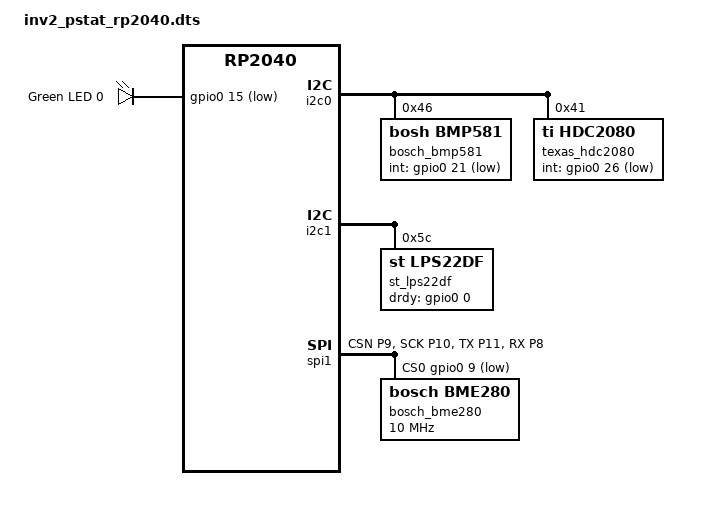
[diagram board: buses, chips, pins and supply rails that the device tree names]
/*
 * Copyright (c) 2021 Yonatan Schachter
 *
 * SPDX-License-Identifier: Apache-2.0
 */

/dts-v1/;

#include <freq.h>
#include <raspberrypi/rpi_pico/rp2040.dtsi>
#include <zephyr/dt-bindings/pwm/pwm.h>
#include <zephyr/dt-bindings/i2c/i2c.h>
#include <zephyr/dt-bindings/pinctrl/rpi-pico-rp2040-pinctrl.h>

#include "common/inv2_pinctrl_common.dtsi"
#include "common/inv2_common.dtsi"
#include "common/inv2_sdcard.dtsi"

/ {
    aliases {
        led0 = &led_green_0;
    };

    leds {
        compatible= "gpio-leds";
        status = "okay";

        led_green_0: led0 {
            label = "Green LED 0";
            gpios = <&gpio0 15 (GPIO_PULL_UP | GPIO_ACTIVE_LOW)>;
        };
    };
};

&uart0 {
    // uart0 pins are being used for I2C1
    status = "disabled";
};

&adc {
    // adc0 is being used for interrupt
    status = "disabled";
};

&i2c0{
    status = "okay";
    pinctrl-0 = <&i2c0_pstat>;
    pinctrl-names = "default";

    bosch_bmp581: bmp581@0x46 {
        compatible = "bosh,bmp581";
        reg = <0x46>;
        status = "okay";

        int-gpios = <&gpio0 21 (GPIO_ACTIVE_LOW | GPIO_PULL_UP)>;
    };

    texas_hdc2080: hdc2080@0x41 {
        compatible = "ti,hdc2080";
        reg = <0x41>;
        status = "okay";

        int-gpios = <&gpio0 26 (GPIO_ACTIVE_LOW | GPIO_PULL_UP)>;
    };
};

&i2c1{
    status = "okay";
    pinctrl-0 = <&i2c1_pstat>;
    pinctrl-names = "default";

    st_lps22df: lps22df@0x5c {
        compatible = "st,lps22df";
        reg = <0x5c>;
        status = "okay";

        drdy-gpios = <&gpio0 0 GPIO_ACTIVE_HIGH>;
        odr = <8>; // output data rate selection 0 (off) - 8 (200Hz)
        lpf = <0>; // low pass filter for pressure data selection 0 (off) - 3 (ODR 9)
        avg = <0>; // average filter for temperature data selection 0 (4 samples) - 7 (512 samples)
    };
};

&spi1 {
    status = "okay";
    cs-gpios = <&gpio0 9 GPIO_ACTIVE_LOW>; // bme280 CS pin
    spi-max-frequency = <DT_FREQ_M(8)>;
    pinctrl-names = "default";
    pinctrl-0 = <&spi1_pstat>;

    bosch_bme280: bme280@0 {
        compatible = "bosch,bme280";
        reg = <0>;
        spi-max-frequency = <DT_FREQ_M(10)>;
    };
};

&pinctrl {
	spi1_pstat: spi1_pstat {
		group1 {
			pinmux = <SPI1_CSN_P9>, <SPI1_SCK_P10>, <SPI1_TX_P11>;
		};
		group2 {
			pinmux = <SPI1_RX_P8>;
			input-enable;
		};
	};

	i2c0_pstat: i2c0_pstat {
		group1 {
			pinmux = <I2C0_SDA_P24>, <I2C0_SCL_P25>;
			input-enable;
			input-schmitt-enable;
		};
	};

	i2c1_pstat: i2c1_pstat {
		group1 {
			pinmux = <I2C1_SDA_P3>, <I2C1_SCL_P2>;
			input-enable;
			input-schmitt-enable;
		};
	};
};
